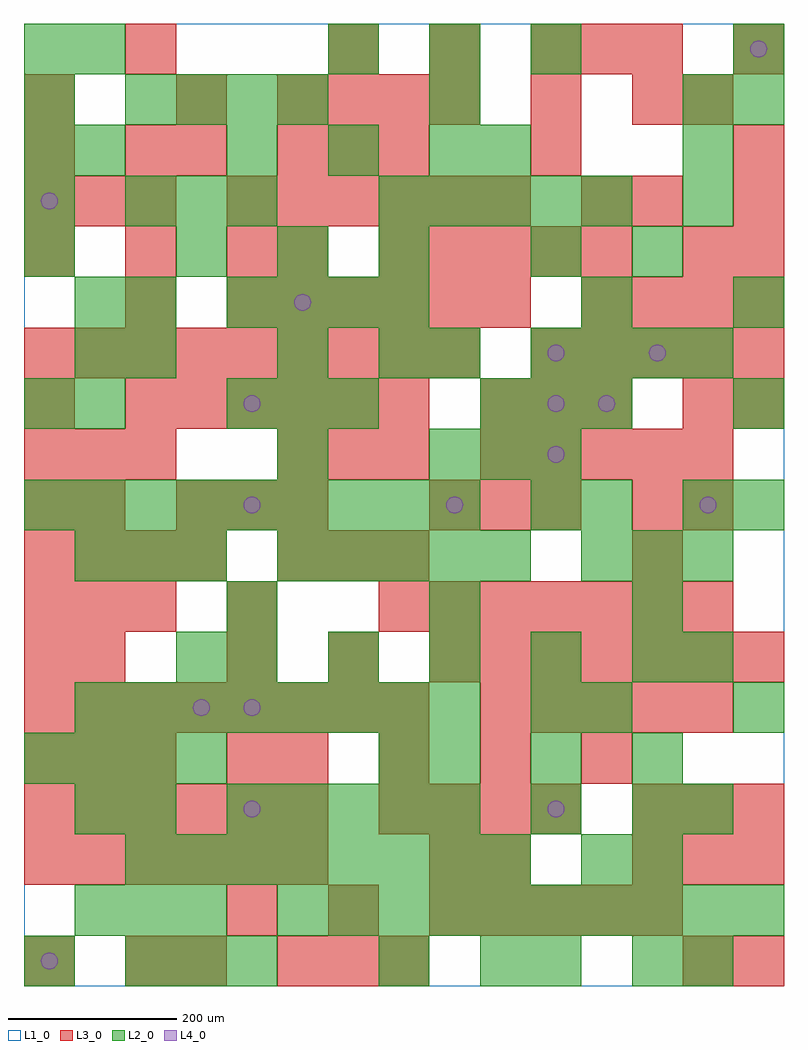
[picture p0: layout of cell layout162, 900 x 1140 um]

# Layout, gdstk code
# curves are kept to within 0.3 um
import gdstk
lib = gdstk.Library(unit=1e-6, precision=1e-09)
def R(c, l, rs):  # rectangles x0, y0, x1, y1
    for r in rs: c.add(gdstk.rectangle(r[:2], r[2:], *l))
def A(c, l, x, y, w, h, nx, ny, dx, dy):  # array of equal rectangles
    R(c, l, [(x+i*dx, y+j*dy, x+i*dx+w, y+j*dy+h) for i in range(nx) for j in range(ny)])
def P(c, l, *ps):  # polygons
    for p in ps: c.add(gdstk.Polygon(p, *l))
L1_0 = (1, 0)
L2_0 = (2, 0)
L3_0 = (3, 0)
L4_0 = (4, 0)

layout162 = lib.new_cell('layout162')
R(layout162, L1_0, [(0,0,900,1140)])
A(layout162, L2_0, 120, 0, 60, 60, 3, 2, 60, 900)
A(layout162, L2_0, 780, 0, 60, 60, 1, 4, 0, 180)
A(layout162, L2_0, 60, 60, 60, 60, 3, 2, 60, 420)
A(layout162, L2_0, 300, 60, 60, 60, 10, 1, 60, 0)
A(layout162, L2_0, 120, 120, 60, 60, 8, 1, 60, 0)
A(layout162, L2_0, 240, 180, 60, 60, 5, 1, 60, 0)
A(layout162, L2_0, 0, 240, 60, 60, 4, 1, 60, 0)
A(layout162, L2_0, 480, 240, 60, 60, 3, 1, 120, 0)
A(layout162, L2_0, 60, 300, 60, 60, 8, 1, 60, 0)
A(layout162, L2_0, 660, 300, 60, 60, 1, 3, 0, 240)
A(layout162, L2_0, 240, 360, 60, 60, 5, 1, 120, 0)
A(layout162, L2_0, 240, 420, 60, 60, 3, 1, 240, 0)
A(layout162, L2_0, 300, 480, 60, 60, 5, 1, 60, 0)
A(layout162, L2_0, 660, 480, 60, 60, 3, 1, 60, 0)
A(layout162, L2_0, 0, 540, 60, 60, 9, 1, 60, 0)
A(layout162, L2_0, 840, 540, 60, 60, 1, 3, 0, 120)
A(layout162, L2_0, 480, 600, 60, 60, 3, 1, 60, 0)
A(layout162, L2_0, 60, 660, 60, 60, 1, 3, 0, 60)
A(layout162, L2_0, 240, 660, 60, 60, 3, 1, 60, 0)
A(layout162, L2_0, 540, 660, 60, 60, 3, 1, 60, 0)
A(layout162, L2_0, 600, 720, 60, 60, 4, 1, 60, 0)
A(layout162, L2_0, 240, 780, 60, 60, 4, 1, 60, 0)
A(layout162, L2_0, 0, 840, 60, 60, 1, 5, 0, 60)
A(layout162, L2_0, 180, 840, 60, 60, 3, 1, 120, 0)
A(layout162, L2_0, 420, 900, 60, 60, 5, 1, 60, 0)
A(layout162, L2_0, 780, 900, 60, 60, 1, 3, 0, 60)
A(layout162, L2_0, 240, 960, 60, 60, 3, 1, 120, 0)
A(layout162, L2_0, 120, 1020, 60, 60, 4, 1, 60, 0)
A(layout162, L2_0, 360, 1080, 60, 60, 3, 1, 120, 0)
R(layout162, L2_0, [(0,0,60,60), (420,0,480,60), (540,0,600,60), (600,0,660,60), (720,0,780,60), (660,120,720,180), (720,120,780,180), (60,180,120,240), (120,180,180,240), (600,180,660,240), (720,180,780,240), (420,240,480,300), (600,300,660,360), (840,300,900,360), (180,360,240,420), (600,540,660,600), (300,600,360,660), (0,660,60,720), (120,720,180,780), (300,720,360,780), (420,720,480,780), (480,720,540,780), (120,780,180,840), (600,840,660,900), (720,840,780,900), (60,960,120,1020), (540,960,600,1020), (480,1020,540,1080), (840,1020,900,1080), (60,1080,120,1140), (840,1080,900,1140)])
A(layout162, L3_0, 300, 0, 60, 60, 3, 2, 60, 480)
A(layout162, L3_0, 240, 60, 60, 60, 3, 2, 120, 300)
A(layout162, L3_0, 540, 60, 60, 60, 4, 1, 60, 0)
A(layout162, L3_0, 0, 120, 60, 60, 6, 2, 60, 60)
A(layout162, L3_0, 720, 120, 60, 60, 3, 2, 60, 60)
A(layout162, L3_0, 420, 180, 60, 60, 4, 1, 60, 0)
A(layout162, L3_0, 0, 240, 60, 60, 3, 3, 60, 180)
A(layout162, L3_0, 300, 240, 60, 60, 4, 1, 120, 0)
A(layout162, L3_0, 0, 300, 60, 60, 8, 1, 60, 0)
A(layout162, L3_0, 540, 300, 60, 60, 5, 2, 60, 300)
A(layout162, L3_0, 540, 360, 60, 60, 6, 1, 60, 0)
A(layout162, L3_0, 420, 420, 60, 60, 7, 1, 60, 0)
A(layout162, L3_0, 0, 480, 60, 60, 4, 1, 60, 0)
A(layout162, L3_0, 180, 540, 60, 60, 3, 1, 60, 0)
A(layout162, L3_0, 480, 540, 60, 60, 3, 1, 60, 0)
A(layout162, L3_0, 300, 600, 60, 60, 3, 2, 60, 360)
A(layout162, L3_0, 120, 660, 60, 60, 6, 1, 60, 0)
A(layout162, L3_0, 540, 660, 60, 60, 3, 1, 60, 0)
A(layout162, L3_0, 780, 660, 60, 60, 1, 3, 0, 180)
A(layout162, L3_0, 0, 720, 60, 60, 9, 1, 60, 0)
A(layout162, L3_0, 600, 720, 60, 60, 5, 1, 60, 0)
A(layout162, L3_0, 240, 780, 60, 60, 6, 2, 60, 120)
A(layout162, L3_0, 660, 780, 60, 60, 4, 1, 60, 0)
A(layout162, L3_0, 0, 840, 60, 60, 3, 1, 120, 0)
A(layout162, L3_0, 420, 840, 60, 60, 5, 1, 60, 0)
A(layout162, L3_0, 840, 840, 60, 60, 1, 3, 0, 60)
A(layout162, L3_0, 0, 900, 60, 60, 3, 1, 60, 0)
A(layout162, L3_0, 300, 1020, 60, 60, 4, 1, 60, 0)
A(layout162, L3_0, 360, 1080, 60, 60, 3, 1, 120, 0)
R(layout162, L3_0, [(0,0,60,60), (120,0,180,60), (180,0,240,60), (780,0,840,60), (840,0,900,60), (480,120,540,180), (540,120,600,180), (240,240,300,300), (0,360,60,420), (60,360,120,420), (240,420,300,480), (720,480,780,540), (0,540,60,600), (60,540,120,600), (720,540,780,600), (780,540,840,600), (0,660,60,720), (840,660,900,720), (120,780,180,840), (300,840,360,900), (660,900,720,960), (720,900,780,960), (0,960,60,1020), (120,960,180,1020), (180,960,240,1020), (600,960,660,1020), (0,1020,60,1080), (180,1020,240,1080), (600,1020,660,1080), (720,1020,780,1080), (120,1080,180,1140), (660,1080,720,1140), (720,1080,780,1140), (840,1080,900,1140)])
P(layout162, L4_0, [(40,30),(39.239,33.827),(37.071,37.071),(33.827,39.239),(30,40),(26.173,39.239),(22.929,37.071),(20.761,33.827),(20,30),(20.761,26.173),(22.929,22.929),(26.173,20.761),(30,20),(33.827,20.761),(37.071,22.929),(39.239,26.173)],
  [(40,930),(39.239,933.827),(37.071,937.071),(33.827,939.239),(30,940),(26.173,939.239),(22.929,937.071),(20.761,933.827),(20,930),(20.761,926.173),(22.929,922.929),(26.173,920.761),(30,920),(33.827,920.761),(37.071,922.929),(39.239,926.173)],
  [(220,330),(219.239,333.827),(217.071,337.071),(213.827,339.239),(210,340),(206.173,339.239),(202.929,337.071),(200.761,333.827),(200,330),(200.761,326.173),(202.929,322.929),(206.173,320.761),(210,320),(213.827,320.761),(217.071,322.929),(219.239,326.173)],
  [(280,210),(279.239,213.827),(277.071,217.071),(273.827,219.239),(270,220),(266.173,219.239),(262.929,217.071),(260.761,213.827),(260,210),(260.761,206.173),(262.929,202.929),(266.173,200.761),(270,200),(273.827,200.761),(277.071,202.929),(279.239,206.173)],
  [(280,330),(279.239,333.827),(277.071,337.071),(273.827,339.239),(270,340),(266.173,339.239),(262.929,337.071),(260.761,333.827),(260,330),(260.761,326.173),(262.929,322.929),(266.173,320.761),(270,320),(273.827,320.761),(277.071,322.929),(279.239,326.173)],
  [(280,570),(279.239,573.827),(277.071,577.071),(273.827,579.239),(270,580),(266.173,579.239),(262.929,577.071),(260.761,573.827),(260,570),(260.761,566.173),(262.929,562.929),(266.173,560.761),(270,560),(273.827,560.761),(277.071,562.929),(279.239,566.173)],
  [(280,690),(279.239,693.827),(277.071,697.071),(273.827,699.239),(270,700),(266.173,699.239),(262.929,697.071),(260.761,693.827),(260,690),(260.761,686.173),(262.929,682.929),(266.173,680.761),(270,680),(273.827,680.761),(277.071,682.929),(279.239,686.173)],
  [(340,810),(339.239,813.827),(337.071,817.071),(333.827,819.239),(330,820),(326.173,819.239),(322.929,817.071),(320.761,813.827),(320,810),(320.761,806.173),(322.929,802.929),(326.173,800.761),(330,800),(333.827,800.761),(337.071,802.929),(339.239,806.173)],
  [(520,570),(519.239,573.827),(517.071,577.071),(513.827,579.239),(510,580),(506.173,579.239),(502.929,577.071),(500.761,573.827),(500,570),(500.761,566.173),(502.929,562.929),(506.173,560.761),(510,560),(513.827,560.761),(517.071,562.929),(519.239,566.173)],
  [(640,210),(639.239,213.827),(637.071,217.071),(633.827,219.239),(630,220),(626.173,219.239),(622.929,217.071),(620.761,213.827),(620,210),(620.761,206.173),(622.929,202.929),(626.173,200.761),(630,200),(633.827,200.761),(637.071,202.929),(639.239,206.173)],
  [(640,630),(639.239,633.827),(637.071,637.071),(633.827,639.239),(630,640),(626.173,639.239),(622.929,637.071),(620.761,633.827),(620,630),(620.761,626.173),(622.929,622.929),(626.173,620.761),(630,620),(633.827,620.761),(637.071,622.929),(639.239,626.173)],
  [(640,690),(639.239,693.827),(637.071,697.071),(633.827,699.239),(630,700),(626.173,699.239),(622.929,697.071),(620.761,693.827),(620,690),(620.761,686.173),(622.929,682.929),(626.173,680.761),(630,680),(633.827,680.761),(637.071,682.929),(639.239,686.173)],
  [(640,750),(639.239,753.827),(637.071,757.071),(633.827,759.239),(630,760),(626.173,759.239),(622.929,757.071),(620.761,753.827),(620,750),(620.761,746.173),(622.929,742.929),(626.173,740.761),(630,740),(633.827,740.761),(637.071,742.929),(639.239,746.173)],
  [(700,690),(699.239,693.827),(697.071,697.071),(693.827,699.239),(690,700),(686.173,699.239),(682.929,697.071),(680.761,693.827),(680,690),(680.761,686.173),(682.929,682.929),(686.173,680.761),(690,680),(693.827,680.761),(697.071,682.929),(699.239,686.173)],
  [(760,750),(759.239,753.827),(757.071,757.071),(753.827,759.239),(750,760),(746.173,759.239),(742.929,757.071),(740.761,753.827),(740,750),(740.761,746.173),(742.929,742.929),(746.173,740.761),(750,740),(753.827,740.761),(757.071,742.929),(759.239,746.173)],
  [(820,570),(819.239,573.827),(817.071,577.071),(813.827,579.239),(810,580),(806.173,579.239),(802.929,577.071),(800.761,573.827),(800,570),(800.761,566.173),(802.929,562.929),(806.173,560.761),(810,560),(813.827,560.761),(817.071,562.929),(819.239,566.173)],
  [(880,1110),(879.239,1113.827),(877.071,1117.071),(873.827,1119.239),(870,1120),(866.173,1119.239),(862.929,1117.071),(860.761,1113.827),(860,1110),(860.761,1106.173),(862.929,1102.929),(866.173,1100.761),(870,1100),(873.827,1100.761),(877.071,1102.929),(879.239,1106.173)])

lib.write_gds('layout162.gds')
